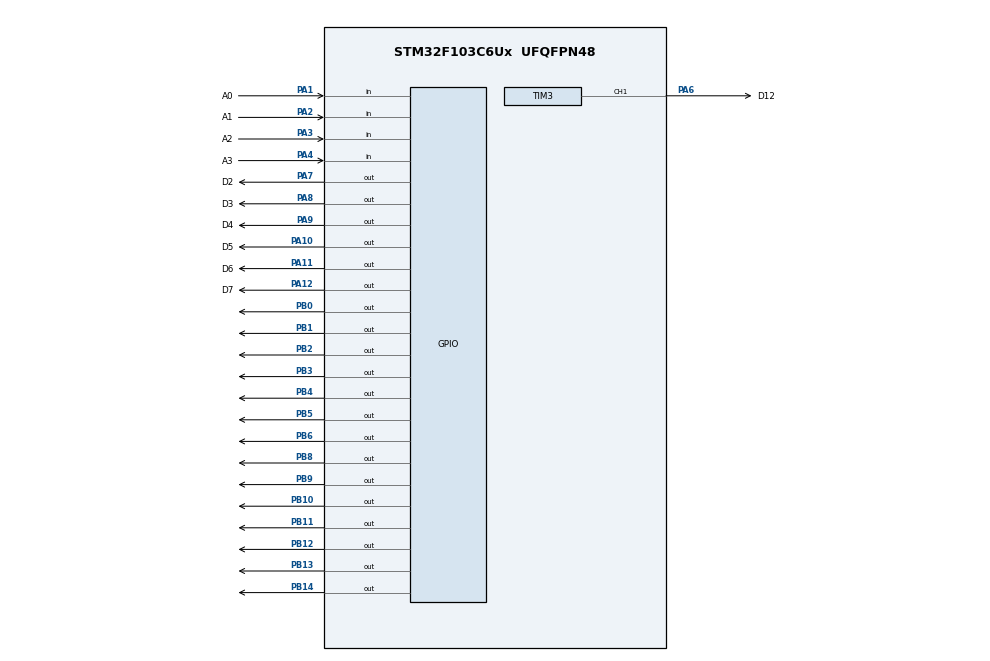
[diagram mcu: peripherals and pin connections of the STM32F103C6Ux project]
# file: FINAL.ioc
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Mcu.Family=STM32F1
Mcu.Name=STM32F103C6Ux
Mcu.Package=UFQFPN48
NVIC.PriorityGroup=NVIC_PRIORITYGROUP_4
NVIC.TIM2_IRQn=true\:0\:0\:false\:false\:true\:true\:true\:true
PA1.GPIO_Label=A0
PA1.GPIO_PuPd=GPIO_PULLUP
PA1.Signal=GPIO_Input
PA10.GPIO_Label=D5
PA10.Signal=GPIO_Output
PA11.GPIO_Label=D6
PA11.Signal=GPIO_Output
PA12.GPIO_Label=D7
PA12.Signal=GPIO_Output
PA13.Mode=Serial_Wire
PA13.Signal=SYS_JTMS-SWDIO
PA14.Mode=Serial_Wire
PA14.Signal=SYS_JTCK-SWCLK
PA2.GPIO_Label=A1
PA2.GPIO_PuPd=GPIO_PULLUP
PA2.Signal=GPIO_Input
PA3.GPIO_Label=A2
PA3.GPIO_PuPd=GPIO_PULLUP
PA3.Signal=GPIO_Input
PA4.GPIO_Label=A3
PA4.GPIO_PuPd=GPIO_PULLUP
PA4.Signal=GPIO_Input
PA6.GPIO_Label=D12
PA6.Signal=S_TIM3_CH1
PA7.GPIO_Label=D2
PA7.Signal=GPIO_Output
PA8.GPIO_Label=D3
PA8.Signal=GPIO_Output
PA9.GPIO_Label=D4
PA9.Signal=GPIO_Output
PB0.Signal=GPIO_Output
PB1.Signal=GPIO_Output
PB10.Signal=GPIO_Output
PB11.Signal=GPIO_Output
PB12.Signal=GPIO_Output
PB13.Signal=GPIO_Output
PB14.Signal=GPIO_Output
PB2.Signal=GPIO_Output
PB3.Signal=GPIO_Output
PB4.Signal=GPIO_Output
PB5.Signal=GPIO_Output
PB6.Signal=GPIO_Output
PB8.Signal=GPIO_Output
PB9.Signal=GPIO_Output
ProjectManager.HeapSize=0x200
ProjectManager.StackSize=0x400
ProjectManager.TargetToolchain=STM32CubeIDE
RCC.APB1Freq_Value=8000000
RCC.APB2Freq_Value=8000000
RCC.SYSCLKSource=RCC_SYSCLKSOURCE_PLLCLK
SH.S_TIM3_CH1.0=TIM3_CH1,PWM Generation1 CH1
TIM2.Period=10
TIM2.Prescaler=7999
TIM3.Channel-PWM\ Generation1\ CH1=TIM_CHANNEL_1
TIM3.Period=100
TIM3.Prescaler=79
VP_TIM2_VS_ClockSourceINT.Mode=Internal
VP_TIM3_VS_ClockSourceINT.Mode=Internal
board=custom

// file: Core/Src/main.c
/* USER CODE BEGIN Header */
/**
  ******************************************************************************
  * @file           : main.c
  * @brief          : Main program body
  ******************************************************************************
  * @attention
  *
  * Copyright (c) 2022 STMicroelectronics.
  * All rights reserved.
  *
  * This software is licensed under terms that can be found in the LICENSE file
  * in the root directory of this software component.
  * If no LICENSE file comes with this software, it is provided AS-IS.
  *
  ******************************************************************************
  */
/* USER CODE END Header */
#include "main.h"

/* USER CODE BEGIN Includes */
#include "global.h"
#include "fsm_auto.h"
#include "fsm_manual.h"
#include "fsm_pedes.h"
#include "fsm_tuning.h"
/* USER CODE END Includes */

TIM_HandleTypeDef htim2;
TIM_HandleTypeDef htim3;

void SystemClock_Config(void);
static void MX_GPIO_Init(void);
static void MX_TIM2_Init(void);
static void MX_TIM3_Init(void);

int main(void)
{

  /* MCU Configuration--------------------------------------------------------*/

  /* Reset of all peripherals, Initializes the Flash interface and the Systick. */
  HAL_Init();

  /* Configure the system clock */
  SystemClock_Config();

  /* Initialize all configured peripherals */
  MX_GPIO_Init();
  MX_TIM2_Init();
  MX_TIM3_Init();
  /* USER CODE BEGIN 2 */
  HAL_TIM_Base_Start_IT(&htim2);
  HAL_TIM_PWM_Start(&htim3, TIM_CHANNEL_1);
  /* USER CODE END 2 */

  /* Infinite loop */
  /* USER CODE BEGIN WHILE */
  status = INIT;
  status_pedes = INIT_PEDES;
  while (1)
  {
	  fsm_auto_run();
	  fsm_manual_run();
	  fsm_pedes_run();
	  fsm_tuning_run();
    /* USER CODE END WHILE */

  }
}

void SystemClock_Config(void)
{
  RCC_OscInitTypeDef RCC_OscInitStruct = {0};
  RCC_ClkInitTypeDef RCC_ClkInitStruct = {0};

  /** Initializes the RCC Oscillators according to the specified parameters
  * in the RCC_OscInitTypeDef structure.
  */
  RCC_OscInitStruct.OscillatorType = RCC_OSCILLATORTYPE_HSI;
  RCC_OscInitStruct.HSIState = RCC_HSI_ON;
  RCC_OscInitStruct.HSICalibrationValue = RCC_HSICALIBRATION_DEFAULT;
  RCC_OscInitStruct.PLL.PLLState = RCC_PLL_ON;
  RCC_OscInitStruct.PLL.PLLSource = RCC_PLLSOURCE_HSI_DIV2;
  RCC_OscInitStruct.PLL.PLLMUL = RCC_PLL_MUL2;
  if (HAL_RCC_OscConfig(&RCC_OscInitStruct) != HAL_OK)
  {
    Error_Handler();
  }

  /** Initializes the CPU, AHB and APB buses clocks
  */
  RCC_ClkInitStruct.ClockType = RCC_CLOCKTYPE_HCLK|RCC_CLOCKTYPE_SYSCLK
                              |RCC_CLOCKTYPE_PCLK1|RCC_CLOCKTYPE_PCLK2;
  RCC_ClkInitStruct.SYSCLKSource = RCC_SYSCLKSOURCE_PLLCLK;
  RCC_ClkInitStruct.AHBCLKDivider = RCC_SYSCLK_DIV1;
  RCC_ClkInitStruct.APB1CLKDivider = RCC_HCLK_DIV1;
  RCC_ClkInitStruct.APB2CLKDivider = RCC_HCLK_DIV1;

  if (HAL_RCC_ClockConfig(&RCC_ClkInitStruct, FLASH_LATENCY_0) != HAL_OK)
  {
    Error_Handler();
  }
}

static void MX_TIM2_Init(void)
{

  TIM_ClockConfigTypeDef sClockSourceConfig = {0};
  TIM_MasterConfigTypeDef sMasterConfig = {0};

  htim2.Instance = TIM2;
  htim2.Init.Prescaler = 7999;
  htim2.Init.CounterMode = TIM_COUNTERMODE_UP;
  htim2.Init.Period = 10;
  htim2.Init.ClockDivision = TIM_CLOCKDIVISION_DIV1;
  htim2.Init.AutoReloadPreload = TIM_AUTORELOAD_PRELOAD_DISABLE;
  if (HAL_TIM_Base_Init(&htim2) != HAL_OK)
  {
    Error_Handler();
  }
  sClockSourceConfig.ClockSource = TIM_CLOCKSOURCE_INTERNAL;
  if (HAL_TIM_ConfigClockSource(&htim2, &sClockSourceConfig) != HAL_OK)
  {
    Error_Handler();
  }
  sMasterConfig.MasterOutputTrigger = TIM_TRGO_RESET;
  sMasterConfig.MasterSlaveMode = TIM_MASTERSLAVEMODE_DISABLE;
  if (HAL_TIMEx_MasterConfigSynchronization(&htim2, &sMasterConfig) != HAL_OK)
  {
    Error_Handler();
  }

}

static void MX_TIM3_Init(void)
{

  TIM_ClockConfigTypeDef sClockSourceConfig = {0};
  TIM_MasterConfigTypeDef sMasterConfig = {0};
  TIM_OC_InitTypeDef sConfigOC = {0};

  htim3.Instance = TIM3;
  htim3.Init.Prescaler = 79;
  htim3.Init.CounterMode = TIM_COUNTERMODE_UP;
  htim3.Init.Period = 100;
  htim3.Init.ClockDivision = TIM_CLOCKDIVISION_DIV1;
  htim3.Init.AutoReloadPreload = TIM_AUTORELOAD_PRELOAD_DISABLE;
  if (HAL_TIM_Base_Init(&htim3) != HAL_OK)
  {
    Error_Handler();
  }
  sClockSourceConfig.ClockSource = TIM_CLOCKSOURCE_INTERNAL;
  if (HAL_TIM_ConfigClockSource(&htim3, &sClockSourceConfig) != HAL_OK)
  {
    Error_Handler();
  }
  if (HAL_TIM_PWM_Init(&htim3) != HAL_OK)
  {
    Error_Handler();
  }
  sMasterConfig.MasterOutputTrigger = TIM_TRGO_RESET;
  sMasterConfig.MasterSlaveMode = TIM_MASTERSLAVEMODE_DISABLE;
  if (HAL_TIMEx_MasterConfigSynchronization(&htim3, &sMasterConfig) != HAL_OK)
  {
    Error_Handler();
  }
  sConfigOC.OCMode = TIM_OCMODE_PWM1;
  sConfigOC.Pulse = 0;
  sConfigOC.OCPolarity = TIM_OCPOLARITY_HIGH;
  sConfigOC.OCFastMode = TIM_OCFAST_DISABLE;
  if (HAL_TIM_PWM_ConfigChannel(&htim3, &sConfigOC, TIM_CHANNEL_1) != HAL_OK)
  {
    Error_Handler();
  }
  HAL_TIM_MspPostInit(&htim3);

}

static void MX_GPIO_Init(void)
{
  GPIO_InitTypeDef GPIO_InitStruct = {0};

  /* GPIO Ports Clock Enable */
  __HAL_RCC_GPIOA_CLK_ENABLE();
  __HAL_RCC_GPIOB_CLK_ENABLE();

  /*Configure GPIO pin Output Level */
  HAL_GPIO_WritePin(GPIOA, D2_Pin|D3_Pin|D4_Pin|D5_Pin
                          |D6_Pin|D7_Pin, GPIO_PIN_RESET);

  /*Configure GPIO pin Output Level */
  HAL_GPIO_WritePin(GPIOB, GPIO_PIN_0|GPIO_PIN_1|GPIO_PIN_2|GPIO_PIN_10
                          |GPIO_PIN_11|GPIO_PIN_12|GPIO_PIN_13|GPIO_PIN_14
                          |GPIO_PIN_3|GPIO_PIN_4|GPIO_PIN_5|GPIO_PIN_6
                          |GPIO_PIN_8|GPIO_PIN_9, GPIO_PIN_RESET);

  /*Configure GPIO pins : A0_Pin A1_Pin A2_Pin A3_Pin */
  GPIO_InitStruct.Pin = A0_Pin|A1_Pin|A2_Pin|A3_Pin;
  GPIO_InitStruct.Mode = GPIO_MODE_INPUT;
  GPIO_InitStruct.Pull = GPIO_PULLUP;
  HAL_GPIO_Init(GPIOA, &GPIO_InitStruct);

  /*Configure GPIO pins : D2_Pin D3_Pin D4_Pin D5_Pin
                           D6_Pin D7_Pin */
  GPIO_InitStruct.Pin = D2_Pin|D3_Pin|D4_Pin|D5_Pin
                          |D6_Pin|D7_Pin;
  GPIO_InitStruct.Mode = GPIO_MODE_OUTPUT_PP;
  GPIO_InitStruct.Pull = GPIO_NOPULL;
  GPIO_InitStruct.Speed = GPIO_SPEED_FREQ_LOW;
  HAL_GPIO_Init(GPIOA, &GPIO_InitStruct);

  /*Configure GPIO pins : PB0 PB1 PB2 PB10
                           PB11 PB12 PB13 PB14
                           PB3 PB4 PB5 PB6
                           PB8 PB9 */
  GPIO_InitStruct.Pin = GPIO_PIN_0|GPIO_PIN_1|GPIO_PIN_2|GPIO_PIN_10
                          |GPIO_PIN_11|GPIO_PIN_12|GPIO_PIN_13|GPIO_PIN_14
                          |GPIO_PIN_3|GPIO_PIN_4|GPIO_PIN_5|GPIO_PIN_6
                          |GPIO_PIN_8|GPIO_PIN_9;
  GPIO_InitStruct.Mode = GPIO_MODE_OUTPUT_PP;
  GPIO_InitStruct.Pull = GPIO_NOPULL;
  GPIO_InitStruct.Speed = GPIO_SPEED_FREQ_LOW;
  HAL_GPIO_Init(GPIOB, &GPIO_InitStruct);

}

/* USER CODE BEGIN 4 */
void HAL_TIM_PeriodElapsedCallback(TIM_HandleTypeDef *htim){
	timer_run();
	button_read();
}
/* USER CODE END 4 */

void Error_Handler(void)
{
  __disable_irq();
  while (1)
  {
  }
}
